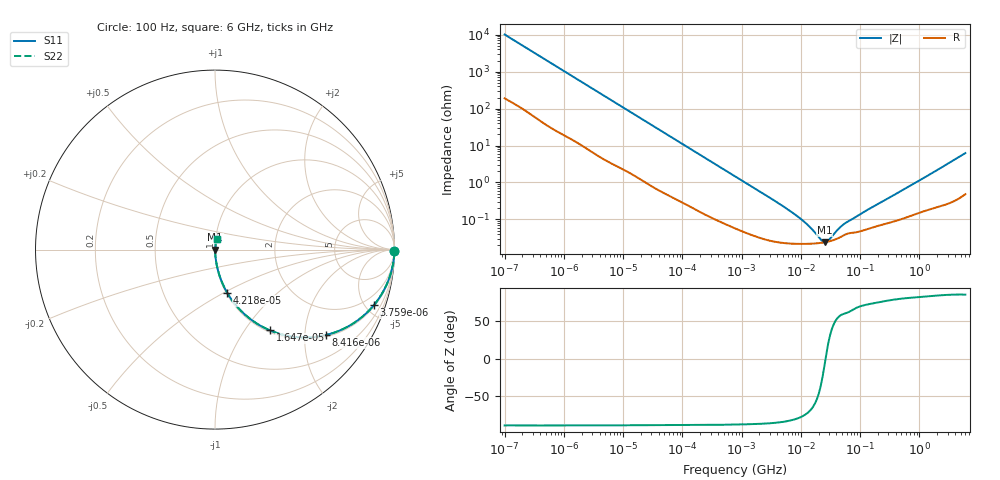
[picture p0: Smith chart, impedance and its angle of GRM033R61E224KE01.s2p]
!Murata Part Number: GRM033R61E224KE01
!These Parameters are Measured in Series Mode Connection
!Data Generated on Mar 30, 2021
!  o--ll--o
!Port1  Port2
!  o------o
!Operation Temp=25[degC], DC Bias Voltage=0[V]
!Freq. Start=100[Hz] Stop=6[GHz] 401[Steps]
# Hz S RI R 50
!Freq.(Hz) S11(Real) S11(Imag) S21(Real) S21(Imag) S12(Real) S12(Imag) S22(Real) S22(Imag)
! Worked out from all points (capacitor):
!   401 points, 100 Hz to 6 GHz, reference 50 ohm
!   read as one part in series: C = 156 nF near 109 Hz
!   lowest |Z| = 24.2 mohm at 25.46 MHz (marker M1)
!   series resonance near 26.17 MHz, so ESL is about 240 pH
!   S11 on the Smith chart (normalised r, x): 100 Hz: open; 3.759 kHz: 1.11, -5.66; 8.416 kHz: 1.05, -2.55; 16.47 kHz: 1.03, -1.32; 42.18 kHz: 1.01, -0.52; 6 GHz: 1.01, +0.12
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100  0.9997 -0.00981  0.000279 0.00981  0.000279 0.00981  0.9997 -0.00981
600  0.9957 -0.0573  0.0043 0.0573  0.0043 0.0573  0.9957 -0.0573
2008  0.9618 -0.1823  0.0382 0.1823  0.0382 0.1823  0.9618 -0.1823
3759  0.8845 -0.3105  0.1155 0.3105  0.1155 0.3105  0.8845 -0.3105
5625  0.7785 -0.4058  0.2215 0.4058  0.2215 0.4058  0.7785 -0.4058
8416  0.6168 -0.4761  0.3832 0.4761  0.3832 0.4761  0.6168 -0.4761
16473  0.306 -0.45  0.694 0.45  0.694 0.45  0.306 -0.45
25777  0.1572 -0.3532  0.8428 0.3532  0.8428 0.3532  0.1572 -0.3532
40335  0.0736 -0.2503  0.9264 0.2503  0.9264 0.2503  0.0736 -0.2503
42182  0.0681 -0.2409  0.9319 0.2409  0.9319 0.2409  0.0681 -0.2409
135116  0.00894 -0.0817  0.9911 0.0817  0.9911 0.0817  0.00894 -0.0817
774597  0.000791 -0.0148  0.9992 0.0148  0.9992 0.0148  0.000791 -0.0148
6353432  0.000226 -0.00175  0.9998 0.00175  0.9998 0.00175  0.000226 -0.00175
1.087309e7  0.000218 -0.000897  0.9998 0.000897  0.9998 0.000897  0.000218 -0.000897
1.555665e7  0.000221 -0.000489  0.9998 0.000489  0.9998 0.000489  0.000221 -0.000489
2.225763e7  0.000233 -0.000146  0.9998 0.000146  0.9998 0.000146  0.000233 -0.000146
2.545746e7  0.00024 -2.44e-05  0.9998 2.44e-05  0.9998 2.44e-05  0.00024 -2.44e-05
2.911731e7  0.000251 9.58e-05  0.9997 -9.58e-05  0.9997 -9.58e-05  0.000251 9.58e-05
4.35672e7  0.000314 0.000464  0.9997 -0.000464  0.9997 -0.000464  0.000314 0.000464
5.699437e7  0.000393 0.000701  0.9996 -0.000701  0.9996 -0.000701  0.000393 0.000701
3.124326e8  0.000825 0.0038  0.9992 -0.0038  0.9992 -0.0038  0.000825 0.0038
6e9  0.00862 0.0615  0.9914 -0.0615  0.9914 -0.0615  0.00862 0.0615
